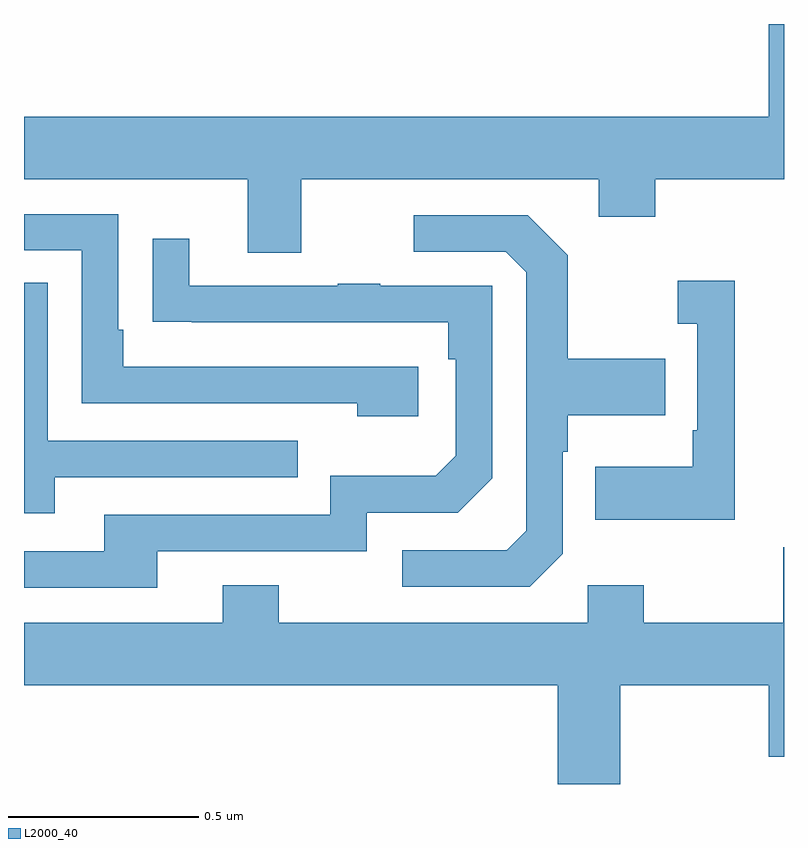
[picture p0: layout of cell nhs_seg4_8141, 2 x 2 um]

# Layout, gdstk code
import gdstk
lib = gdstk.Library(unit=1e-6, precision=1e-09)
def P(c, l, *ps):  # polygons
    for p in ps: c.add(gdstk.Polygon(p, *l))
L2000_40 = (2000, 40)

nhs_seg4_8141 = lib.new_cell('nhs_seg4_8141')
P(nhs_seg4_8141, L2000_40, [(211.729,791.492),(212.513,791.492),(212.513,791.393),(212.661,791.393),(212.661,791.492),(213,791.492),(213,791.9),(212.96,791.9),(212.96,791.656),(211,791.656),(211,791.492),(211.589,791.492),(211.589,791.298),(211.729,791.298)],
  [(212.038,790.998),(211.261,790.998),(211.261,791.095),(211.248,791.095),(211.248,791.4),(211,791.4),(211,791.304),(211.152,791.304),(211.152,790.902),(211.877,790.902),(211.877,790.868),(212.038,790.868)],
  [(212.418,790.506),(212.418,790.775),(212.431,790.775),(212.431,790.871),(212.687,790.871),(212.687,791.019),(212.431,791.019),(212.431,791.291),(212.325,791.397),(212.025,791.397),(212.025,791.301),(212.268,791.301),(212.322,791.247),(212.322,790.566),(212.271,790.515),(211.995,790.515),(211.995,790.419),(212.331,790.419)],
  [(211.351,790.512),(211.902,790.512),(211.902,790.614),(212.142,790.614),(212.232,790.704),(212.232,791.211),(211.937,791.211),(211.937,791.216),(211.825,791.216),(211.825,791.211),(211.435,791.211),(211.435,791.335),(211.339,791.335),(211.339,791.116),(211.441,791.116),(211.441,791.115),(212.116,791.115),(212.116,791.018),(212.136,791.018),(212.136,790.764),(212.083,790.711),(211.806,790.711),(211.806,790.608),(211.211,790.608),(211.211,790.512),(211,790.512),(211,790.416),(211.351,790.416)],
  [(212.87,791.224),(212.721,791.224),(212.721,791.111),(212.772,791.111),(212.772,790.831),(212.76,790.831),(212.76,790.735),(212.503,790.735),(212.503,790.595),(212.87,790.595)],
  [(211.081,790.707),(211.721,790.707),(211.721,790.803),(211.062,790.803),(211.062,791.219),(211,791.219),(211,790.613),(211.081,790.613)],
  [(212.569,790.16),(212.96,790.16),(212.96,789.972),(213,789.972),(213,790.523),(212.998,790.523),(212.998,790.324),(212.631,790.324),(212.631,790.423),(212.484,790.423),(212.484,790.324),(211.671,790.324),(211.671,790.423),(211.523,790.423),(211.523,790.324),(211,790.324),(211,790.16),(212.405,790.16),(212.405,789.9),(212.569,789.9)])

lib.write_gds('nhs_seg4_8141.gds')
